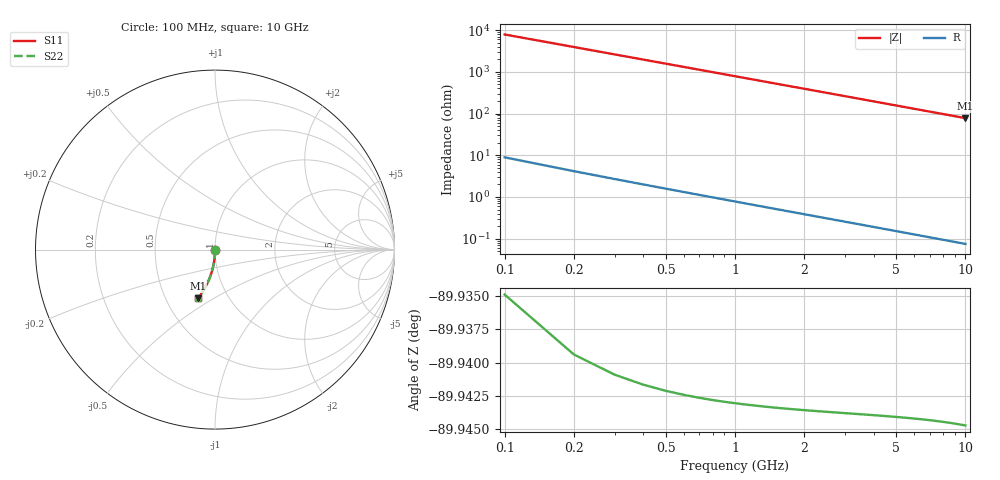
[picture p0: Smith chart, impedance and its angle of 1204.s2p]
# Hz S RI R 50.00
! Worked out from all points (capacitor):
!   100 points, 100 MHz to 10 GHz, reference 50 ohm
!   read as one part in shunt: C = 203 fF near 100 MHz
!   lowest |Z| = 77.8 ohm at 10 GHz (marker M1)
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1e8  4.52e-05 -0.00296  0.9999 -0.0034  0.9999 -0.0034  4.52e-05 -0.00296
2e8  1.22e-05 -0.00593  0.9999 -0.0068  0.9999 -0.0068  1.22e-05 -0.00593
3e8  -4.1e-05 -0.00889  0.9998 -0.0102  0.9998 -0.0102  -4.1e-05 -0.00889
4e8  -0.000114 -0.0119  0.9998 -0.0136  0.9998 -0.0136  -0.000114 -0.0119
5e8  -0.000208 -0.0148  0.9997 -0.017  0.9997 -0.017  -0.000208 -0.0148
6e8  -0.000322 -0.0178  0.9996 -0.0204  0.9996 -0.0204  -0.000322 -0.0178
7e8  -0.000456 -0.0207  0.9994 -0.0238  0.9994 -0.0238  -0.000456 -0.0207
8e8  -0.00061 -0.0237  0.9993 -0.0272  0.9993 -0.0272  -0.00061 -0.0237
9e8  -0.000785 -0.0267  0.9991 -0.0306  0.9991 -0.0306  -0.000785 -0.0267
1.1e9  -0.00119 -0.0326  0.9987 -0.0374  0.9987 -0.0374  -0.00119 -0.0326
1.4e9  -0.00196 -0.0415  0.9979 -0.0476  0.9979 -0.0476  -0.00196 -0.0415
1.8e9  -0.00326 -0.0533  0.9966 -0.0611  0.9966 -0.0611  -0.00326 -0.0533
2.1e9  -0.00445 -0.0621  0.9954 -0.0713  0.9954 -0.0713  -0.00445 -0.0621
2.5e9  -0.00631 -0.0738  0.9935 -0.0848  0.9935 -0.0848  -0.00631 -0.0738
2.9e9  -0.00849 -0.0855  0.9913 -0.0982  0.9913 -0.0982  -0.00849 -0.0855
3.4e9  -0.0117 -0.1  0.9881 -0.1149  0.9881 -0.1149  -0.0117 -0.1
4.2e9  -0.0177 -0.1228  0.982 -0.1413  0.982 -0.1413  -0.0177 -0.1228
5.1e9  -0.026 -0.1481  0.9736 -0.1705  0.9736 -0.1705  -0.026 -0.1481
5.9e9  -0.0346 -0.1699  0.9649 -0.1959  0.9649 -0.1959  -0.0346 -0.1699
6.7e9  -0.0443 -0.1911  0.9551 -0.2208  0.9551 -0.2208  -0.0443 -0.1911
8.4e9  -0.0683 -0.2339  0.9308 -0.2712  0.9308 -0.2712  -0.0683 -0.2339
1e10  -0.0946 -0.2706  0.9043 -0.3153  0.9043 -0.3153  -0.0946 -0.2706
